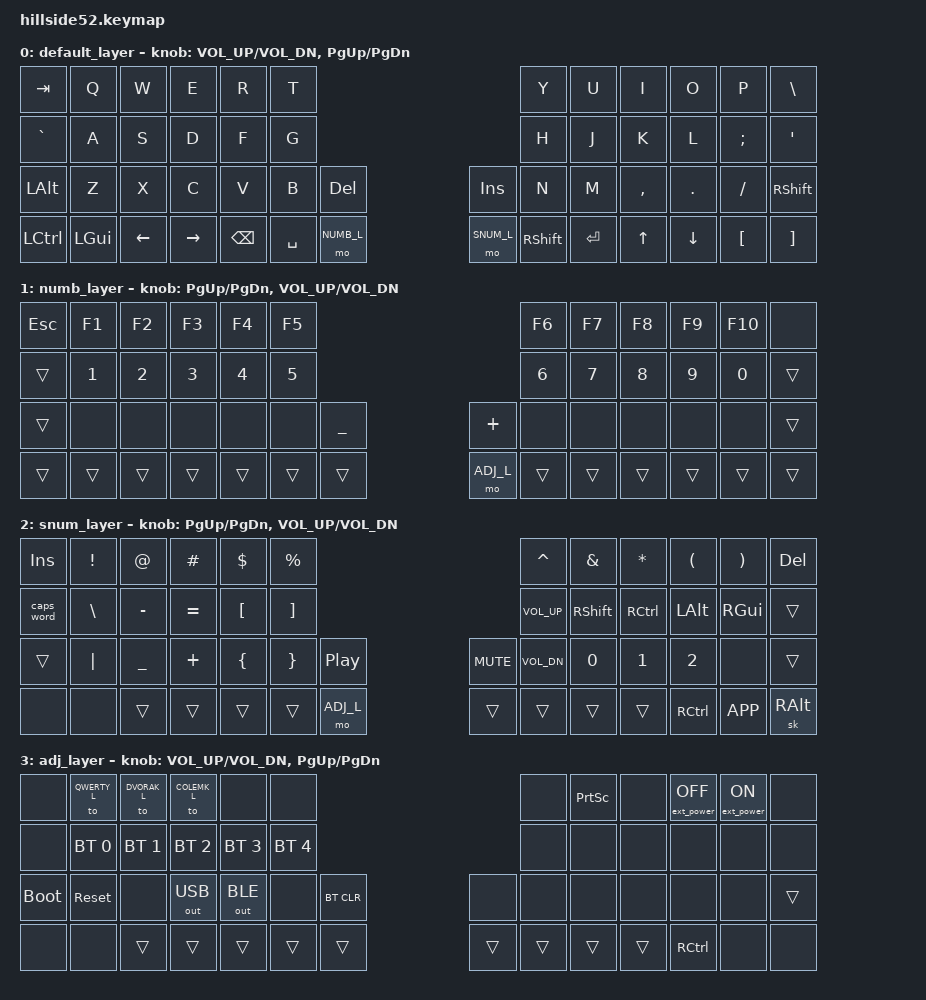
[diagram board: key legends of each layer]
/*
 * Copyright (c) 2021-2022 The ZMK Contributors
 *
 * SPDX-License-Identifier: MIT
 */

#include <behaviors.dtsi>
#include <dt-bindings/zmk/bt.h>
#include <dt-bindings/zmk/ext_power.h>
#include <dt-bindings/zmk/keys.h>
#include <dt-bindings/zmk/outputs.h>

#define BASE_L 0
#define NUMB_L 1
#define SNUM_L 2
#define ADJU_L 3

#define QWERTY_L 0
#define DVORAK_L 1
#define COLEMK_L 2
#define NAV_L    3
#define SYM_L    4
#define ADJ_L    5

#define Undo   LC(Z)
#define Cut    LC(X)
#define Copy   LC(C)
#define Paste  LC(V)
#define Redo   LC(Y)


/ {
        keymap {
                compatible = "zmk,keymap";

                default_layer {
/* QWERTY
 * -------------------------------------------------------------------------------------------------------------------------------------
 * | TAB   |   Q   |   W   |   E   |   R   |   T   |-----------------------------------|   Y   |   U   |   I   |   O   |   P   |   \   |
 * | `     |   A   |   S   |   D   |   F   |   G   |-----------------------------------|   H   |   J   |   K   |   L   |   ;   |   '   |
 * | Alt   |   Z   |   X   |   C   |   V   |   B   |   DEL |-------------------|   INS |   N   |   M   |   ,   |   .   |   /   | SHIFT |
 * | Ctrl  |  GUI  | Left  |-------|  Right|  BACK | SPACE |  Num  |---|  SNum | SHIFT |  Enter|  Up   |-------| Down  |   [   |   ]   |
 */
                        bindings = <
&kp  TAB      &kp  Q        &kp  W        &kp  E        &kp  R        &kp  T                                                                         &kp  Y        &kp  U        &kp  I        &kp  O        &kp  P        &kp  BSLH
&kp  GRAVE    &kp  A        &kp  S        &kp  D        &kp  F        &kp  G                                                                         &kp  H        &kp  J        &kp  K        &kp  L        &kp  SEMI     &kp  SQT
&kp  LALT     &kp  Z        &kp  X        &kp  C        &kp  V        &kp  B        &kp  DEL                                           &kp  INS      &kp  N        &kp  M        &kp  COMMA    &kp  DOT      &kp  SLASH    &kp  RSHFT
&kp  LCTRL    &kp  LGUI     &kp  LEFT                   &kp  RIGHT    &kp  BSPC     &kp  SPACE    &mo  NUMB_L            &mo  SNUM_L   &kp  RSHFT    &kp  ENTER    &kp  UP                     &kp  DOWN     &kp  LBKT     &kp  RBKT
                        >;
			
                        sensor-bindings = <&inc_dec_kp C_VOL_UP C_VOL_DN &inc_dec_kp PG_UP PG_DN>;
                };
			
                numb_layer {
/* NUMB
 * -------------------------------------------------------------------------------------------------------------------------------------
 * | ESC   |  F1   |  F2   |  F3   |  F4   |  F5   |-----------------------------------|  F6   |  F7   |  F8   |  F9   |  F0   |       |
 * |       |   1   |   2   |   3   |   4   |   5   |-----------------------------------|   6   |   7   |   8   |   9   |   0   |       |
 * |       |       |       |       |       |       |  _    |-------------------|   +   |       |       |       |       |       |       |
 * |       |       |       |-------|       |       |       |       |---| ADJ_L |       |       |       |-------|       |       |       |
 */
                        bindings = <
&kp  ESC      &kp  F1       &kp  F2       &kp  F3       &kp  F4       &kp  F5                                                                        &kp   F6      &kp  F7      &kp   F8      &kp   F9      &kp  F10      &none
&trans        &kp  N1       &kp  N2       &kp  N3       &kp  N4       &kp  N5                                                                        &kp   N6      &kp  N7      &kp   N8      &kp   N9      &kp  N0       &trans
&trans        &none         &none         &none         &none         &none         &kp  UNDER                                         &kp  PLUS     &none         &none        &none         &none         &none         &trans
&trans        &trans        &trans                      &trans        &trans        &trans        &trans                 &mo ADJ_L     &trans        &trans        &trans                     &trans        &trans        &trans
                        >;
			
                        sensor-bindings = <&inc_dec_kp PG_UP PG_DN &inc_dec_kp C_VOL_UP C_VOL_DN>;
                };

                snum_layer {
/* SNUM
 * -------------------------------------------------------------------------------------------------------------------------------------
 * | INS   |   !   |   @   |   #   |   $   |   %   |-----------------------------------|   ^   |   &   |   *   |   (   |   )   | DELETE|
 * | CAPS  |   \   |   -   |   =   |   [   |   ]   |-----------------------------------| Vol+  | Shift | Ctrl  | Alt   | Gui   | ENTER |
 * | Shift |   |   |   _   |   +   |   {   |   }   | Play  |-------------------| Mute  | Vol-  |  N0   |  N1   |  N2   |       | SHIFT |
 * |       |       |       |-------|       |       |       |  ADJ_L |---|      |       |       |       |-------| CTRL  | MENU  |SkAltGr|
 */
                        bindings = <
&kp  INS      &kp  EXCL     &kp  AT       &kp  HASH     &kp  DOLLAR   &kp  PERCENT                                                                   &kp  CARET    &kp  AMPS     &kp  ASTRK    &kp  LPAR     &kp  RPAR     &kp  DEL
&caps_word    &kp  BSLH     &kp  MINUS    &kp  EQUAL    &kp  LBKT     &kp  RBKT                                                                      &kp C_VOL_UP  &kp  RSHFT    &kp  RCTRL    &kp  LALT     &kp  RGUI     &trans
&trans        &kp  PIPE     &kp  UNDER    &kp  PLUS     &kp  LBRC     &kp  RBRC     &kp  C_PP                                          &kp C_MUTE    &kp C_VOL_DN  &kp  N0       &kp  N1       &kp  N2       &none         &trans
&none         &none         &trans                      &trans        &trans        &trans        &mo  ADJ_L               &trans      &trans        &trans        &trans                      &kp  RCTRL    &kp  K_APP    &sk  RALT
                        >;
			
                        sensor-bindings = <&inc_dec_kp PG_UP PG_DN &inc_dec_kp C_VOL_UP C_VOL_DN>;
                };
		

                adj_layer {
/* ADJUST
 * -------------------------------------------------------------------------------------------------------------------------------------
 * |       | QWERTY| DVORAK| COLEMK|       |       |-----------------------------------|       |Prt Scr|       | EP_OFF| EP_ON |       |
 * |       | BT 0  | BT 1  | BT 2  | BT 3  | BT 4  |-----------------------------------|       |       |       |       |       |       |
 * | BOOTL | RESET |       |OUT_USB|OUT_BLE|       |BT CLR |-------------------|       |       |       |       |       |       | SHIFT |
 * ----------------|       |-------|       |       |       |       |---|       |       |       |       |-------| CTRL  |----------------
 */
                        bindings = <
&none         &to  QWERTY_L &to  DVORAK_L &to  COLEMK_L &none         &none                                                                             &none             &kp PRINTSCREEN    &none         &ext_power EP_OFF  &ext_power EP_ON &none
&none         &bt  BT_SEL 0 &bt  BT_SEL 1 &bt  BT_SEL 2 &bt  BT_SEL 3 &bt  BT_SEL 4                                                                     &none             &none              &none            &none           &none            &none
&bootloader   &sys_reset    &none         &out OUT_USB  &out OUT_BLE  &none         &bt BT_CLR                                         &none            &none             &none              &none            &none           &none            &trans
&none         &none         &trans                      &trans        &trans        &trans        &trans                 &trans        &trans           &trans            &trans                              &kp  RCTRL      &none            &none
                        >;
			
                        sensor-bindings = <&inc_dec_kp C_VOL_UP C_VOL_DN &inc_dec_kp PG_UP PG_DN>;
                };
        };
};
